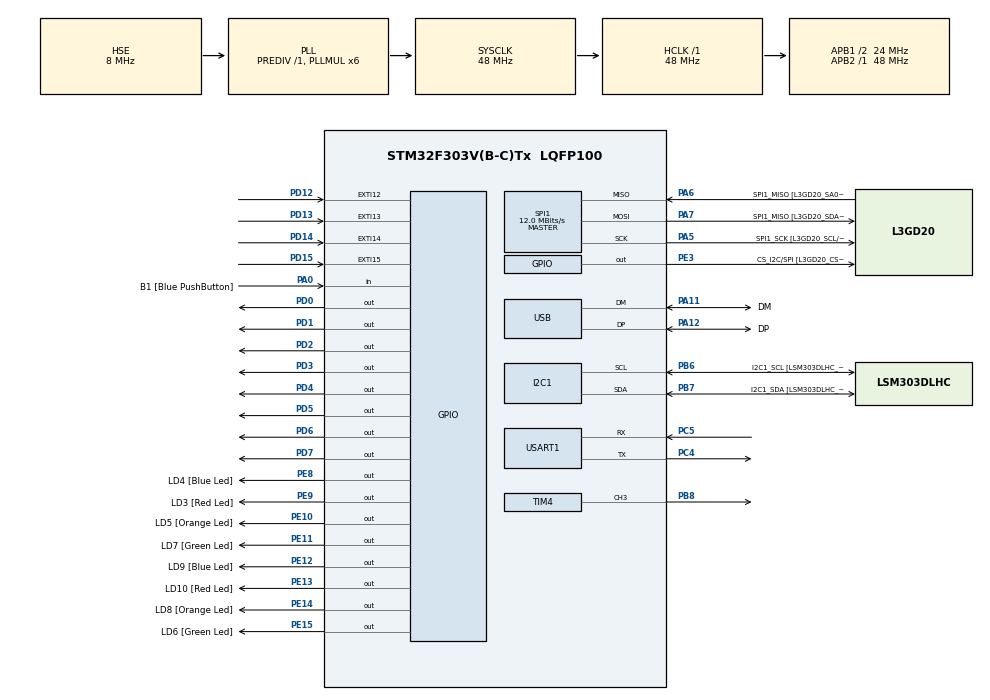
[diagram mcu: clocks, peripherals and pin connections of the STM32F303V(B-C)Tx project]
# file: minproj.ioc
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I2C1.Timing=0x2000090E
I2C1.Timing-I2C=0x2000090E
Mcu.Family=STM32F3
Mcu.Name=STM32F303V(B-C)Tx
Mcu.Package=LQFP100
NVIC.EXTI15_10_IRQn=true\:0\:0\:true\:false\:true\:true\:true
NVIC.PriorityGroup=NVIC_PRIORITYGROUP_0
NVIC.TIM1_BRK_TIM15_IRQn=true\:0\:0\:true\:false\:true\:true\:true
NVIC.TIM1_CC_IRQn=true\:0\:0\:true\:false\:true\:true\:true
NVIC.TIM1_TRG_COM_TIM17_IRQn=true\:0\:0\:true\:false\:true\:true\:true
NVIC.TIM1_UP_TIM16_IRQn=true\:0\:0\:true\:false\:true\:true\:true
NVIC.TIM2_IRQn=true\:0\:0\:true\:false\:true\:true\:true
NVIC.TIM3_IRQn=true\:0\:0\:true\:false\:true\:true\:true
NVIC.USART1_IRQn=true\:0\:0\:true\:false\:true\:true\:true
PA0.GPIO_Label=B1 [Blue PushButton]
PA0.Signal=GPIO_Input
PA11.GPIO_Label=DM
PA11.Mode=Device
PA11.Signal=USB_DM
PA12.GPIO_Label=DP
PA12.Mode=Device
PA12.Signal=USB_DP
PA13.GPIO_Label=SWDIO
PA13.Mode=Serial_Wire
PA13.Signal=SYS_JTMS-SWDIO
PA14.GPIO_Label=SWCLK
PA14.Mode=Serial_Wire
PA14.Signal=SYS_JTCK-SWCLK
PA5.GPIO_Label=SPI1_SCK [L3GD20_SCL/SPC]
PA5.Mode=Full_Duplex_Master
PA5.Signal=SPI1_SCK
PA6.GPIO_Label=SPI1_MISO [L3GD20_SA0/SDO]
PA6.Mode=Full_Duplex_Master
PA6.Signal=SPI1_MISO
PA7.GPIO_Label=SPI1_MISO [L3GD20_SDA/SDI/SDO]
PA7.Mode=Full_Duplex_Master
PA7.Signal=SPI1_MOSI
PB3.GPIO_Label=SWO
PB3.Signal=SYS_JTDO-TRACESWO
PB6.GPIO_Label=I2C1_SCL [LSM303DLHC_SCL]
PB6.GPIO_Pu=GPIO_PULLUP
PB6.Mode=I2C
PB6.Signal=I2C1_SCL
PB7.GPIO_Label=I2C1_SDA [LSM303DLHC_SDA]
PB7.GPIO_Pu=GPIO_PULLUP
PB7.Mode=I2C
PB7.Signal=I2C1_SDA
PB8.Signal=S_TIM4_CH3
PC14-OSC32_IN.GPIO_Label=OSC32_IN
PC14-OSC32_IN.Signal=RCC_OSC32_IN
PC15-OSC32_OUT.GPIO_Label=OSC32_OUT
PC15-OSC32_OUT.Signal=RCC_OSC32_OUT
PC4.Mode=Asynchronous
PC4.Signal=USART1_TX
PC5.Mode=Asynchronous
PC5.Signal=USART1_RX
PD0.Signal=GPIO_Output
PD1.Signal=GPIO_Output
PD12.Signal=GPXTI12
PD13.Signal=GPXTI13
PD14.Signal=GPXTI14
PD15.Signal=GPXTI15
PD2.Signal=GPIO_Output
PD3.Signal=GPIO_Output
PD4.Signal=GPIO_Output
PD5.Signal=GPIO_Output
PD6.Signal=GPIO_Output
PD7.Signal=GPIO_Output
PE10.GPIO_Label=LD5 [Orange Led]
PE10.Signal=GPIO_Output
PE11.GPIO_Label=LD7 [Green Led]
PE11.Signal=GPIO_Output
PE12.GPIO_Label=LD9 [Blue Led]
PE12.Signal=GPIO_Output
PE13.GPIO_Label=LD10 [Red Led]
PE13.Signal=GPIO_Output
PE14.GPIO_Label=LD8 [Orange Led]
PE14.Signal=GPIO_Output
PE15.GPIO_Label=LD6 [Green Led]
PE15.Signal=GPIO_Output
PE3.GPIO_Label=CS_I2C/SPI [L3GD20_CS_I2C/SPI]
PE3.Signal=GPIO_Output
PE8.GPIO_Label=LD4 [Blue Led]
PE8.Signal=GPIO_Output
PE9.GPIO_Label=LD3 [Red Led]
PE9.Signal=GPIO_Output
PF0-OSC_IN.GPIO_Label=OSC_IN
PF0-OSC_IN.Mode=HSE-External-Clock-Source
PF0-OSC_IN.Signal=RCC_OSC_IN
PF1-OSC_OUT.GPIO_Label=OSC_OUT
PF1-OSC_OUT.Signal=RCC_OSC_OUT
ProjectManager.HeapSize=0x200
ProjectManager.StackSize=0x400
ProjectManager.TargetToolchain=STM32CubeIDE
RCC.AHBFreq_Value=48000000
RCC.APB1CLKDivider=RCC_HCLK_DIV2
RCC.APB1Freq_Value=24000000
RCC.APB1TimFreq_Value=48000000
RCC.APB2Freq_Value=48000000
RCC.APB2TimFreq_Value=48000000
RCC.CortexFreq_Value=48000000
RCC.HCLKFreq_Value=48000000
RCC.HSE_VALUE=8000000
RCC.HSI_VALUE=8000000
RCC.LSE_VALUE=32768
RCC.PLLMUL=RCC_PLL_MUL6
RCC.SYSCLKFreq_VALUE=48000000
RCC.SYSCLKSourceVirtual=RCC_SYSCLKSOURCE_PLLCLK
RCC.USBFreq_Value=48000000
SH.S_TIM4_CH3.0=TIM4_CH3,PWM Generation3 CH3
SPI1.BaudRatePrescaler=SPI_BAUDRATEPRESCALER_4
SPI1.BaudRatePrescaler-Full_Duplex_Master=SPI_BAUDRATEPRESCALER_2
SPI1.CalculateBaudRate=12.0 MBits/s
SPI1.CalculateBaudRate-Full_Duplex_Master=24.0 MBits/s
SPI1.Direction=SPI_DIRECTION_2LINES
SPI1.Mode=SPI_MODE_MASTER
SPI1.Mode-Full_Duplex_Master=SPI_MODE_MASTER
SPI1.VirtualType=VM_MASTER
TIM1.Period=9999
TIM1.Prescaler=1199
TIM2.Period=999
TIM2.Prescaler=287
TIM3.Period=9999
TIM3.Prescaler=9599
TIM4.Channel-PWM\ Generation3\ CH3=TIM_CHANNEL_3
TIM4.Period=9999
TIM4.Prescaler=1199
USART1.VirtualMode-Asynchronous=VM_ASYNC
VP_TIM1_VS_ClockSourceINT.Mode=Internal
VP_TIM2_VS_ClockSourceINT.Mode=Internal
VP_TIM3_VS_ClockSourceINT.Mode=Internal
board=STM32F3DISCOVERY

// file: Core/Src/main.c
/* USER CODE BEGIN Header */
/**
 ******************************************************************************
 * @file           : main.c
 * @brief          : Main program body
 ******************************************************************************
 * @attention
 *
 * <h2><center>&copy; Copyright (c) 2022 STMicroelectronics.
 * All rights reserved.</center></h2>
 *
 * This software component is licensed by ST under BSD 3-Clause license,
 * the "License"; You may not use this file except in compliance with the
 * License. You may obtain a copy of the License at:
 *                        opensource.org/licenses/BSD-3-Clause
 *
 ******************************************************************************
 */
/* USER CODE END Header */
#include "main.h"

/* USER CODE BEGIN Includes */
#include <stdio.h>
#include <string.h>

/* USER CODE END Includes */

/* USER CODE BEGIN PTD */
typedef struct {
	uint16_t frequency;
	uint16_t duration;
} Tone;
/* USER CODE END PTD */

/* USER CODE BEGIN PM */
int myfloor = 0, maxfloor = 8, alarm = 0;
int farr[400], fcount = 0, newfloor = 0, wait = 500, led = 1;
int button = 0;
char print[20];
char str[30];

/* USER CODE END PM */

I2C_HandleTypeDef hi2c1;

SPI_HandleTypeDef hspi1;

TIM_HandleTypeDef htim1;
TIM_HandleTypeDef htim2;
TIM_HandleTypeDef htim3;
TIM_HandleTypeDef htim4;

UART_HandleTypeDef huart1;

PCD_HandleTypeDef hpcd_USB_FS;

/* USER CODE BEGIN PV */

TIM_HandleTypeDef *pwm_timer = &htim4;
uint32_t pwm_channel = TIM_CHANNEL_3;   // Select configured PWM channel number
const Tone *volatile melody_ptr;
volatile uint16_t melody_tone_count;
volatile uint16_t current_tone_number;
volatile uint32_t current_tone_end;
volatile uint16_t volume = 50;          // (0 - 1000)
volatile uint32_t last_button_press;
/* USER CODE END PV */

void SystemClock_Config(void);
static void MX_GPIO_Init(void);
static void MX_I2C1_Init(void);
static void MX_SPI1_Init(void);
static void MX_USB_PCD_Init(void);
static void MX_TIM1_Init(void);
static void MX_TIM2_Init(void);
static void MX_TIM3_Init(void);
static void MX_TIM4_Init(void);
static void MX_USART1_UART_Init(void);

/* USER CODE BEGIN 0 */
void numberToBcd(int i) {
	int x1 = i & 1;
	int x2 = i & 2;
	int x3 = i & 4;
	int x4 = i & 8;
	if (x1 > 0)
		x1 = 1;
	if (x2 > 0)
		x2 = 1;
	if (x3 > 0)
		x3 = 1;
	if (x4 > 0)
		x4 = 1;
	HAL_GPIO_WritePin(GPIOD, GPIO_PIN_4, x1);
	HAL_GPIO_WritePin(GPIOD, GPIO_PIN_5, x2);
	HAL_GPIO_WritePin(GPIOD, GPIO_PIN_6, x3);
	HAL_GPIO_WritePin(GPIOD, GPIO_PIN_7, x4);
}

void PWM_Start() {
	HAL_TIM_PWM_Start(pwm_timer, pwm_channel);
}
void PWM_Change_Tone(uint16_t pwm_freq, uint16_t volume) // pwm_freq (1 - 20000), volume (0 - 1000)
{
	if (pwm_freq == 0 || pwm_freq > 20000) {
		__HAL_TIM_SET_COMPARE(pwm_timer, pwm_channel, 0);
	} else {
		const uint32_t internal_clock_freq = HAL_RCC_GetSysClockFreq();
		// const uint16_t prescaler = 1;
		const uint16_t prescaler = 1 + internal_clock_freq / pwm_freq / 60000;
		const uint32_t timer_clock = internal_clock_freq / prescaler;
		const uint32_t period_cycles = timer_clock / pwm_freq;
		const uint32_t pulse_width = volume * period_cycles / 1000 / 2;

		pwm_timer->Instance->PSC = prescaler - 1;
		pwm_timer->Instance->ARR = period_cycles - 1;
		pwm_timer->Instance->EGR = TIM_EGR_UG;
		__HAL_TIM_SET_COMPARE(pwm_timer, pwm_channel, pulse_width); // pwm_timer->Instance->CCR2 = pulse_width;
	}
}
/*
 void HAL_UART_RxCpltCallback(UART_HandleTypeDef *huart)
 {
 if (huart->instance == USART2)
 {
 HAL_UART_Receive_IT(&huart2, str, sizeof(str));
 }
 }
 ////////////////////////////////////////////////////////////////
 void HAL_ADC_ConvCpltCallback(ADC_HandleTypeDef *hadc)
 {
 if (hadc->Instance == ADC1)
 {
 HAL_ADC_Start_IT(&hadc1);
 }
 }
 ////////////////////////////////////////////////////////////////
 void HAL_TIM_PeriodElapsedCallback(TIM_HandleTypeDef *htim)
 {
 if (htim->Instance == TIM7)
 {

 }
 }
 ////////////////////////////////////////////////////////////////
 void HAL_GPIO_EXTI_Callback(uint16_t GPIO_Pin)
 {
 if (GPIO_Pin == GPIO_PIN_0)
 {

 }
 } */
void HAL_GPIO_EXTI_Callback(uint16_t GPIO_Pin) {
	if (GPIO_Pin == GPIO_PIN_13) {
		if (newfloor < maxfloor) {
			newfloor++;
			//button = HAL_GetTick();
		}
	}
	if (GPIO_Pin == GPIO_PIN_14) {
		if (newfloor > 0) {
			newfloor--;
			//button = HAL_GetTick();
		}
	}
	if (GPIO_Pin == GPIO_PIN_15) {
//	if (fcount == 0 || (fcount > 0 && newfloor != farr[fcount - 1])) {
		farr[fcount] = newfloor;
		fcount++;
		HAL_GPIO_TogglePin(GPIOE, GPIO_PIN_13);
		//button = HAL_GetTick();
		//}
	}
	if (GPIO_Pin == GPIO_PIN_12) {
		alarm = 1 - alarm;
		//button = HAL_GetTick();
		//}
	}
}
void HAL_TIM_PeriodElapsedCallback(TIM_HandleTypeDef *htim) {
	//alarm
	if (htim->Instance == TIM1) {
		int timer1sw;
		if (alarm == 1) {
			if (led == 1)
				HAL_GPIO_TogglePin(GPIOE,
						GPIO_PIN_8 | GPIO_PIN_9 | GPIO_PIN_10 | GPIO_PIN_11
								| GPIO_PIN_12 | GPIO_PIN_13 | GPIO_PIN_14
								| GPIO_PIN_15);
			if (timer1sw == 1) {
				PWM_Change_Tone(1000, 1000);
				timer1sw = 0;
			} else {
				PWM_Change_Tone(1000, 0);
				timer1sw = 1;
			}
		}
		if (alarm == 0) {
			HAL_GPIO_WritePin(GPIOE,
					GPIO_PIN_8 | GPIO_PIN_9 | GPIO_PIN_10 | GPIO_PIN_11
							| GPIO_PIN_12 | GPIO_PIN_13 | GPIO_PIN_14
							| GPIO_PIN_15, 0);
			PWM_Change_Tone(1000, 0);
		}
	}
	//seven segment
	if (htim->Instance == TIM2) {
		int time2sw;
		if (time2sw == 0) {
			HAL_GPIO_WritePin(GPIOD, GPIO_PIN_3, 1);
			HAL_GPIO_WritePin(GPIOD, GPIO_PIN_0, 0);
			numberToBcd(newfloor);
			time2sw = 1;
		} else {
			HAL_GPIO_WritePin(GPIOD, GPIO_PIN_3, 0);
			HAL_GPIO_WritePin(GPIOD, GPIO_PIN_0, 1);
			numberToBcd(myfloor);
			time2sw = 0;
		}
	}
	//show myfloor
	if (htim->Instance == TIM3) {
		if (fcount != 0) {
			for (int i = 0; i <= fcount; i++) {
				myfloor = farr[i];
//					HAL_UART_Transmit_IT(&huart1, print, sprintf(print,"fcount = %d & i = %d & floor = %d\n", fcount, i,myfloor));
			}
			fcount = 0;
			//	HAL_GPIO_TogglePin(GPIOE, GPIO_PIN_15);
		}
	}
}
void HAL_UART_RxCpltCallback(UART_HandleTypeDef *huart) {
	if (huart->Instance == USART1) {
		int length, i;
		wait = 1000;
		if (strstr(str, "ADMIN#{1628} SET LEVEL MAX")) {
			for (i = 0; i < 30; i++) {
				if ((str[i] - '0') < 10 && (str[i] - '0') > 0) {
					maxfloor = (str[i] - '0');
					HAL_UART_Transmit_IT(&huart1, print,
							sprintf(print, "maxfloor = %d\n", maxfloor));
				}
			}
		} else if (strstr(str, "ADMIN#{1628} SET LEVEL")) {
			//HAL_UART_Transmit_IT(&huart1, "2\n", 2);
			for (i = 30; i > 0; i--) {
				if ((str[i] - '0') < maxfloor && (str[i] - '0') > 0) {
					myfloor = (str[i] - '0');
				}
				HAL_UART_Transmit_IT(&huart1, print,
						sprintf(print, "myfloor = %d\n", myfloor));

			}
		} else if (strstr(str, "ADMIN#{1628} SET WAIT")) {
			//HAL_UART_Transmit_IT(&huart1, print, sprintf(print,"w = %s!\n",str));
			char w[5] = { '0', '0', '0', '0', '0' };
			int j = 4;
			for (i = 0; i < 30; i++) {
				if (str[i] <= '9' && str[i] >= '0' && j >= 0) {
					w[j] = str[i];
					j--;
				}
			}
			if (wait % 500 == 0)
				(&htim3)->Instance->PSC = 1000 / wait;
				HAL_UART_Transmit_IT(&huart1, print, sprintf(print,"wait = %d\n", wait));

			/*
			 *
			 * ADMIN{1628}SET LED ON.........
			 ADMIN{1628}SET LED OFF........
			 ADMIN#{1628} SET LEVEL MAX 5..

			 *
			 * */
		} else if (strstr(str, "ADMIN{1628}SET LED")) {
			if (strstr(str, "ON"))
				led = 1;
			else
				led = 0;
			HAL_UART_Transmit_IT(&huart1, print,
					sprintf(print, "led = %d\n",led));
		}
		HAL_UART_Receive_IT(&huart1, str, 30);
	}
}

/* USER CODE END 0 */

int main(void) {

	/* MCU Configuration--------------------------------------------------------*/

	/* Reset of all peripherals, Initializes the Flash interface and the Systick. */
	HAL_Init();

	/* Configure the system clock */
	SystemClock_Config();

	/* Initialize all configured peripherals */
	MX_GPIO_Init();
	MX_I2C1_Init();
	MX_SPI1_Init();
	MX_USB_PCD_Init();
	MX_TIM1_Init();
	MX_TIM2_Init();
	MX_TIM3_Init();
	MX_TIM4_Init();
	MX_USART1_UART_Init();
	/* USER CODE BEGIN 2 */
	HAL_TIM_Base_Start_IT(&htim2);
	HAL_TIM_Base_Start_IT(&htim3);
	HAL_TIM_Base_Start_IT(&htim4);
	HAL_TIM_Base_Start_IT(&htim1);
	PWM_Start();
	HAL_UART_Transmit_IT(&huart1, print, sprintf(print, "Hi\n"));
	HAL_UART_Receive_IT(&huart1, str, 30);

//PWM_Change_Tone(1000, 1000);
	/* USER CODE END 2 */

	/* Infinite loop */
	while (1) {

	}
}

void SystemClock_Config(void) {
	RCC_OscInitTypeDef RCC_OscInitStruct = { 0 };
	RCC_ClkInitTypeDef RCC_ClkInitStruct = { 0 };
	RCC_PeriphCLKInitTypeDef PeriphClkInit = { 0 };

	/** Initializes the RCC Oscillators according to the specified parameters
	 * in the RCC_OscInitTypeDef structure.
	 */
	RCC_OscInitStruct.OscillatorType = RCC_OSCILLATORTYPE_HSI
			| RCC_OSCILLATORTYPE_HSE;
	RCC_OscInitStruct.HSEState = RCC_HSE_BYPASS;
	RCC_OscInitStruct.HSEPredivValue = RCC_HSE_PREDIV_DIV1;
	RCC_OscInitStruct.HSIState = RCC_HSI_ON;
	RCC_OscInitStruct.HSICalibrationValue = RCC_HSICALIBRATION_DEFAULT;
	RCC_OscInitStruct.PLL.PLLState = RCC_PLL_ON;
	RCC_OscInitStruct.PLL.PLLSource = RCC_PLLSOURCE_HSE;
	RCC_OscInitStruct.PLL.PLLMUL = RCC_PLL_MUL6;
	if (HAL_RCC_OscConfig(&RCC_OscInitStruct) != HAL_OK) {
		Error_Handler();
	}
	/** Initializes the CPU, AHB and APB buses clocks
	 */
	RCC_ClkInitStruct.ClockType = RCC_CLOCKTYPE_HCLK | RCC_CLOCKTYPE_SYSCLK
			| RCC_CLOCKTYPE_PCLK1 | RCC_CLOCKTYPE_PCLK2;
	RCC_ClkInitStruct.SYSCLKSource = RCC_SYSCLKSOURCE_PLLCLK;
	RCC_ClkInitStruct.AHBCLKDivider = RCC_SYSCLK_DIV1;
	RCC_ClkInitStruct.APB1CLKDivider = RCC_HCLK_DIV2;
	RCC_ClkInitStruct.APB2CLKDivider = RCC_HCLK_DIV1;

	if (HAL_RCC_ClockConfig(&RCC_ClkInitStruct, FLASH_LATENCY_1) != HAL_OK) {
		Error_Handler();
	}
	PeriphClkInit.PeriphClockSelection = RCC_PERIPHCLK_USB
			| RCC_PERIPHCLK_USART1 | RCC_PERIPHCLK_I2C1 | RCC_PERIPHCLK_TIM1;
	PeriphClkInit.Usart1ClockSelection = RCC_USART1CLKSOURCE_PCLK2;
	PeriphClkInit.I2c1ClockSelection = RCC_I2C1CLKSOURCE_HSI;
	PeriphClkInit.USBClockSelection = RCC_USBCLKSOURCE_PLL;
	PeriphClkInit.Tim1ClockSelection = RCC_TIM1CLK_HCLK;
	if (HAL_RCCEx_PeriphCLKConfig(&PeriphClkInit) != HAL_OK) {
		Error_Handler();
	}
}

static void MX_I2C1_Init(void) {

	hi2c1.Instance = I2C1;
	hi2c1.Init.Timing = 0x2000090E;
	hi2c1.Init.OwnAddress1 = 0;
	hi2c1.Init.AddressingMode = I2C_ADDRESSINGMODE_7BIT;
	hi2c1.Init.DualAddressMode = I2C_DUALADDRESS_DISABLE;
	hi2c1.Init.OwnAddress2 = 0;
	hi2c1.Init.OwnAddress2Masks = I2C_OA2_NOMASK;
	hi2c1.Init.GeneralCallMode = I2C_GENERALCALL_DISABLE;
	hi2c1.Init.NoStretchMode = I2C_NOSTRETCH_DISABLE;
	if (HAL_I2C_Init(&hi2c1) != HAL_OK) {
		Error_Handler();
	}
	/** Configure Analogue filter
	 */
	if (HAL_I2CEx_ConfigAnalogFilter(&hi2c1, I2C_ANALOGFILTER_ENABLE)
			!= HAL_OK) {
		Error_Handler();
	}
	/** Configure Digital filter
	 */
	if (HAL_I2CEx_ConfigDigitalFilter(&hi2c1, 0) != HAL_OK) {
		Error_Handler();
	}

}

static void MX_SPI1_Init(void) {

	/* SPI1 parameter configuration*/
	hspi1.Instance = SPI1;
	hspi1.Init.Mode = SPI_MODE_MASTER;
	hspi1.Init.Direction = SPI_DIRECTION_2LINES;
	hspi1.Init.DataSize = SPI_DATASIZE_4BIT;
	hspi1.Init.CLKPolarity = SPI_POLARITY_LOW;
	hspi1.Init.CLKPhase = SPI_PHASE_1EDGE;
	hspi1.Init.NSS = SPI_NSS_SOFT;
	hspi1.Init.BaudRatePrescaler = SPI_BAUDRATEPRESCALER_4;
	hspi1.Init.FirstBit = SPI_FIRSTBIT_MSB;
	hspi1.Init.TIMode = SPI_TIMODE_DISABLE;
	hspi1.Init.CRCCalculation = SPI_CRCCALCULATION_DISABLE;
	hspi1.Init.CRCPolynomial = 7;
	hspi1.Init.CRCLength = SPI_CRC_LENGTH_DATASIZE;
	hspi1.Init.NSSPMode = SPI_NSS_PULSE_ENABLE;
	if (HAL_SPI_Init(&hspi1) != HAL_OK) {
		Error_Handler();
	}

}

static void MX_TIM1_Init(void) {

	TIM_ClockConfigTypeDef sClockSourceConfig = { 0 };
	TIM_MasterConfigTypeDef sMasterConfig = { 0 };

	htim1.Instance = TIM1;
	htim1.Init.Prescaler = 1199;
	htim1.Init.CounterMode = TIM_COUNTERMODE_UP;
	htim1.Init.Period = 9999;
	htim1.Init.ClockDivision = TIM_CLOCKDIVISION_DIV1;
	htim1.Init.RepetitionCounter = 0;
	htim1.Init.AutoReloadPreload = TIM_AUTORELOAD_PRELOAD_DISABLE;
	if (HAL_TIM_Base_Init(&htim1) != HAL_OK) {
		Error_Handler();
	}
	sClockSourceConfig.ClockSource = TIM_CLOCKSOURCE_INTERNAL;
	if (HAL_TIM_ConfigClockSource(&htim1, &sClockSourceConfig) != HAL_OK) {
		Error_Handler();
	}
	sMasterConfig.MasterOutputTrigger = TIM_TRGO_RESET;
	sMasterConfig.MasterOutputTrigger2 = TIM_TRGO2_RESET;
	sMasterConfig.MasterSlaveMode = TIM_MASTERSLAVEMODE_DISABLE;
	if (HAL_TIMEx_MasterConfigSynchronization(&htim1, &sMasterConfig)
			!= HAL_OK) {
		Error_Handler();
	}

}

static void MX_TIM2_Init(void) {

	TIM_ClockConfigTypeDef sClockSourceConfig = { 0 };
	TIM_MasterConfigTypeDef sMasterConfig = { 0 };

	htim2.Instance = TIM2;
	htim2.Init.Prescaler = 287;
	htim2.Init.CounterMode = TIM_COUNTERMODE_UP;
	htim2.Init.Period = 999;
	htim2.Init.ClockDivision = TIM_CLOCKDIVISION_DIV1;
	htim2.Init.AutoReloadPreload = TIM_AUTORELOAD_PRELOAD_DISABLE;
	if (HAL_TIM_Base_Init(&htim2) != HAL_OK) {
		Error_Handler();
	}
	sClockSourceConfig.ClockSource = TIM_CLOCKSOURCE_INTERNAL;
	if (HAL_TIM_ConfigClockSource(&htim2, &sClockSourceConfig) != HAL_OK) {
		Error_Handler();
	}
	sMasterConfig.MasterOutputTrigger = TIM_TRGO_RESET;
	sMasterConfig.MasterSlaveMode = TIM_MASTERSLAVEMODE_DISABLE;
	if (HAL_TIMEx_MasterConfigSynchronization(&htim2, &sMasterConfig)
			!= HAL_OK) {
		Error_Handler();
	}

}

static void MX_TIM3_Init(void) {

	TIM_ClockConfigTypeDef sClockSourceConfig = { 0 };
	TIM_MasterConfigTypeDef sMasterConfig = { 0 };

	htim3.Instance = TIM3;
	htim3.Init.Prescaler = 9599;
	htim3.Init.CounterMode = TIM_COUNTERMODE_UP;
	htim3.Init.Period = 9999;
	htim3.Init.ClockDivision = TIM_CLOCKDIVISION_DIV1;
	htim3.Init.AutoReloadPreload = TIM_AUTORELOAD_PRELOAD_DISABLE;
	if (HAL_TIM_Base_Init(&htim3) != HAL_OK) {
		Error_Handler();
	}
	sClockSourceConfig.ClockSource = TIM_CLOCKSOURCE_INTERNAL;
	if (HAL_TIM_ConfigClockSource(&htim3, &sClockSourceConfig) != HAL_OK) {
		Error_Handler();
	}
	sMasterConfig.MasterOutputTrigger = TIM_TRGO_RESET;
	sMasterConfig.MasterSlaveMode = TIM_MASTERSLAVEMODE_DISABLE;
	if (HAL_TIMEx_MasterConfigSynchronization(&htim3, &sMasterConfig)
			!= HAL_OK) {
		Error_Handler();
	}

}

static void MX_TIM4_Init(void) {

	TIM_MasterConfigTypeDef sMasterConfig = { 0 };
	TIM_OC_InitTypeDef sConfigOC = { 0 };

	htim4.Instance = TIM4;
	htim4.Init.Prescaler = 1199;
	htim4.Init.CounterMode = TIM_COUNTERMODE_UP;
	htim4.Init.Period = 9999;
	htim4.Init.ClockDivision = TIM_CLOCKDIVISION_DIV1;
	htim4.Init.AutoReloadPreload = TIM_AUTORELOAD_PRELOAD_DISABLE;
	if (HAL_TIM_PWM_Init(&htim4) != HAL_OK) {
		Error_Handler();
	}
	sMasterConfig.MasterOutputTrigger = TIM_TRGO_RESET;
	sMasterConfig.MasterSlaveMode = TIM_MASTERSLAVEMODE_DISABLE;
	if (HAL_TIMEx_MasterConfigSynchronization(&htim4, &sMasterConfig)
			!= HAL_OK) {
		Error_Handler();
	}
	sConfigOC.OCMode = TIM_OCMODE_PWM1;
	sConfigOC.Pulse = 0;
	sConfigOC.OCPolarity = TIM_OCPOLARITY_HIGH;
	sConfigOC.OCFastMode = TIM_OCFAST_DISABLE;
	if (HAL_TIM_PWM_ConfigChannel(&htim4, &sConfigOC, TIM_CHANNEL_3)
			!= HAL_OK) {
		Error_Handler();
	}
	HAL_TIM_MspPostInit(&htim4);

}

static void MX_USART1_UART_Init(void) {

	huart1.Instance = USART1;
	huart1.Init.BaudRate = 38400;
	huart1.Init.WordLength = UART_WORDLENGTH_8B;
	huart1.Init.StopBits = UART_STOPBITS_1;
	huart1.Init.Parity = UART_PARITY_NONE;
	huart1.Init.Mode = UART_MODE_TX_RX;
	huart1.Init.HwFlowCtl = UART_HWCONTROL_NONE;
	huart1.Init.OverSampling = UART_OVERSAMPLING_16;
	huart1.Init.OneBitSampling = UART_ONE_BIT_SAMPLE_DISABLE;
	huart1.AdvancedInit.AdvFeatureInit = UART_ADVFEATURE_NO_INIT;
	if (HAL_UART_Init(&huart1) != HAL_OK) {
		Error_Handler();
	}

}

static void MX_USB_PCD_Init(void) {

	hpcd_USB_FS.Instance = USB;
	hpcd_USB_FS.Init.dev_endpoints = 8;
	hpcd_USB_FS.Init.speed = PCD_SPEED_FULL;
	hpcd_USB_FS.Init.phy_itface = PCD_PHY_EMBEDDED;
	hpcd_USB_FS.Init.low_power_enable = DISABLE;
	hpcd_USB_FS.Init.battery_charging_enable = DISABLE;
	if (HAL_PCD_Init(&hpcd_USB_FS) != HAL_OK) {
		Error_Handler();
	}

}

static void MX_GPIO_Init(void) {
	GPIO_InitTypeDef GPIO_InitStruct = { 0 };

	/* GPIO Ports Clock Enable */
	__HAL_RCC_GPIOE_CLK_ENABLE();
	__HAL_RCC_GPIOC_CLK_ENABLE();
	__HAL_RCC_GPIOF_CLK_ENABLE();
	__HAL_RCC_GPIOA_CLK_ENABLE();
	__HAL_RCC_GPIOD_CLK_ENABLE();
	__HAL_RCC_GPIOB_CLK_ENABLE();

	/*Configure GPIO pin Output Level */
	HAL_GPIO_WritePin(GPIOE,
			CS_I2C_SPI_Pin | LD4_Pin | LD3_Pin | LD5_Pin | LD7_Pin | LD9_Pin
					| LD10_Pin | LD8_Pin | LD6_Pin, GPIO_PIN_RESET);

	/*Configure GPIO pin Output Level */
	HAL_GPIO_WritePin(GPIOD,
			GPIO_PIN_0 | GPIO_PIN_1 | GPIO_PIN_2 | GPIO_PIN_3 | GPIO_PIN_4
					| GPIO_PIN_5 | GPIO_PIN_6 | GPIO_PIN_7, GPIO_PIN_RESET);

	/*Configure GPIO pins : CS_I2C_SPI_Pin LD4_Pin LD3_Pin LD5_Pin
	 LD7_Pin LD9_Pin LD10_Pin LD8_Pin
	 LD6_Pin */
	GPIO_InitStruct.Pin = CS_I2C_SPI_Pin | LD4_Pin | LD3_Pin | LD5_Pin | LD7_Pin
			| LD9_Pin | LD10_Pin | LD8_Pin | LD6_Pin;
	GPIO_InitStruct.Mode = GPIO_MODE_OUTPUT_PP;
	GPIO_InitStruct.Pull = GPIO_NOPULL;
	GPIO_InitStruct.Speed = GPIO_SPEED_FREQ_LOW;
	HAL_GPIO_Init(GPIOE, &GPIO_InitStruct);

	/*Configure GPIO pin : B1_Pin */
	GPIO_InitStruct.Pin = B1_Pin;
	GPIO_InitStruct.Mode = GPIO_MODE_INPUT;
	GPIO_InitStruct.Pull = GPIO_NOPULL;
	HAL_GPIO_Init(B1_GPIO_Port, &GPIO_InitStruct);

	/*Configure GPIO pins : PD12 PD13 PD14 PD15 */
	GPIO_InitStruct.Pin = GPIO_PIN_12 | GPIO_PIN_13 | GPIO_PIN_14 | GPIO_PIN_15;
	GPIO_InitStruct.Mode = GPIO_MODE_IT_RISING;
	GPIO_InitStruct.Pull = GPIO_NOPULL;
	HAL_GPIO_Init(GPIOD, &GPIO_InitStruct);

	/*Configure GPIO pins : PD0 PD1 PD2 PD3
	 PD4 PD5 PD6 PD7 */
	GPIO_InitStruct.Pin = GPIO_PIN_0 | GPIO_PIN_1 | GPIO_PIN_2 | GPIO_PIN_3
			| GPIO_PIN_4 | GPIO_PIN_5 | GPIO_PIN_6 | GPIO_PIN_7;
	GPIO_InitStruct.Mode = GPIO_MODE_OUTPUT_PP;
	GPIO_InitStruct.Pull = GPIO_NOPULL;
	GPIO_InitStruct.Speed = GPIO_SPEED_FREQ_LOW;
	HAL_GPIO_Init(GPIOD, &GPIO_InitStruct);

	/* EXTI interrupt init*/
	HAL_NVIC_SetPriority(EXTI15_10_IRQn, 0, 0);
	HAL_NVIC_EnableIRQ(EXTI15_10_IRQn);

}

void Error_Handler(void) {
	__disable_irq();
	while (1) {
	}
}

/************************ (C) COPYRIGHT STMicroelectronics *****END OF FILE****/
